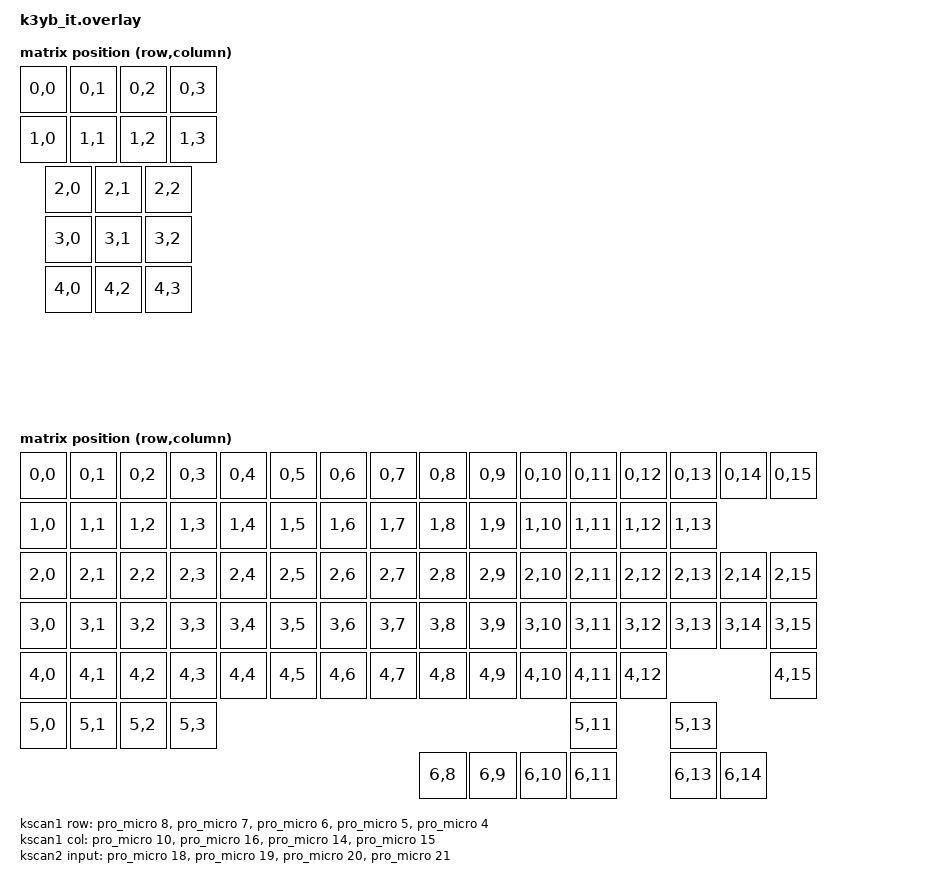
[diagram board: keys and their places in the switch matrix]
#include <dt-bindings/zmk/matrix_transform.h>

/ {
    chosen {
        zmk,kscan = &kscan0;
    };

    kscan0: kscan_composite {
        compatible = "zmk,kscan-composite";
        rows = <7>;
        columns = <16>;
		
        // Include the matrix GPIO driver
        matrix {
            kscan = <&kscan1>;
        };

        // Include the demux GPIO driver...
        demux {
            kscan = <&kscan2>;
        };
    };

    kscan1: kscan_matrix {
        compatible = "zmk,kscan-gpio-matrix";
        wakeup-source;
        diode-direction = "col2row";
        
        col-gpios = <&pro_micro 10 GPIO_ACTIVE_HIGH>
                  , <&pro_micro 16 GPIO_ACTIVE_HIGH>
                  , <&pro_micro 14 GPIO_ACTIVE_HIGH>
                  , <&pro_micro 15 GPIO_ACTIVE_HIGH>;

        row-gpios =  <&pro_micro 8 (GPIO_ACTIVE_HIGH | GPIO_PULL_UP)>
                   , <&pro_micro 7 (GPIO_ACTIVE_HIGH | GPIO_PULL_UP)>
                   , <&pro_micro 6 (GPIO_ACTIVE_HIGH | GPIO_PULL_UP)>
                   , <&pro_micro 5 (GPIO_ACTIVE_HIGH | GPIO_PULL_UP)>
                   , <&pro_micro 4 (GPIO_ACTIVE_HIGH | GPIO_PULL_UP)> 
                   ;
    };

    kscan2: kscan_demux {
        compatible = "zmk,kscan-gpio-demux";
        polling-interval-msec = <200>;

        input-gpios =  <&pro_micro 18 GPIO_ACTIVE_HIGH>
                     , <&pro_micro 19 GPIO_ACTIVE_HIGH>
                     , <&pro_micro 20 GPIO_ACTIVE_HIGH>
                     , <&pro_micro 21 GPIO_ACTIVE_HIGH>;

        output-gpios =  <&pro_micro 8 (GPIO_ACTIVE_HIGH | GPIO_PULL_UP)>
                      , <&pro_micro 7 (GPIO_ACTIVE_HIGH | GPIO_PULL_UP)>
                      , <&pro_micro 6 (GPIO_ACTIVE_HIGH | GPIO_PULL_UP)>
                      , <&pro_micro 5 (GPIO_ACTIVE_HIGH | GPIO_PULL_UP)>
                      , <&pro_micro 4 (GPIO_ACTIVE_HIGH | GPIO_PULL_UP)>
                      , <&pro_micro 3 (GPIO_ACTIVE_HIGH | GPIO_PULL_UP)> 
                      , <&pro_micro 2 (GPIO_ACTIVE_HIGH | GPIO_PULL_UP)>
                      ;
    };
	
    keypad_transform: matrix_transform_1 {
        compatible = "zmk,matrix-transform";
        rows = <5>;
        columns = <4>;
		//     1   2   3   4
        //   ┌───┬───┬───┬───┐
        // 1 │NUM│ / │ * │ - │
        //   ├───┼───┼───┼───┤
        // 2 │ 7 │ 8 │ 9 │ + │
        //   ├───┼───┼───┼───┤
        // 3 │ 4 │ 5 │ 6 │   │
        //   ├───┼───┼───┼───┤
        // 4 │ 1 │ 2 │ 3 │   │
        //   ├───┼───┼───┼───┤
        // 5 │ 0 │   │ . │RET│
        //   └───┴───┴───┴───┘
        map = <
            RC(0,0) RC(0,1) RC(0,2) RC(0,3)
              RC(1,0) RC(1,1) RC(1,2) RC(1,3)
                RC(2,0) RC(2,1) RC(2,2)
                  RC(3,0) RC(3,1) RC(3,2) 
                    RC(4,0)         RC(4,2) RC(4,3)
        >;
		
    };
	
	demux_transform: matrix_transform_2 {
         compatible = "zmk,matrix-transform";
         rows = <7>;
         columns = <16>;
		//      1   2   3   4   5   6   7   8   9   10  11  12  13  14  15  16
        //    ┌───┬───┬───┬───┬───┬───┬───┬───┬───┬───┬───┬───┬───┬───┬───┬───┐
        //  1 │ESC│ F1│ F2│ F3│ F4│ F5│ F6│ F7│ F8│ F9│F10│F11│F12│PRN│BSC│ PS│
        //    ├───┼───┼───┼───┼───┼───┼───┼───┼───┼───┼───┼───┼───┼───┼───┼───┤
        //  2 │ ~ │ 1 │ 2 │ 3 │ 4 │ 5 │ 6 │ 7 │ 8 │ 9 │ 0 │ - │ = │BKS│   │   │
        //    ├───┼───┼───┼───┼───┼───┼───┼───┼───┼───┼───┼───┼───┼───┼───┼───┤
        //  3 │TAB│ q │ w │ e │ r │ t │ y │ u │ i │ o │ p │ [ │ ] │INS│ UP│PGU│
        //    ├───┼───┼───┼───┼───┼───┼───┼───┼───┼───┼───┼───┼───┼───┼───┼───┤
        //  4 │CAP│ a │ s │ d │ f │ g │ h │ j │ k │ l │ ; │ ' │ENT│DEL│END│PGD│
        //    ├───┼───┼───┼───┼───┼───┼───┼───┼───┼───┼───┼───┼───┼───┼───┼───┤
        //  5 │SHL│ \ │ z │ x │ c │ v │ b │ n │ m │ , │ . │ / │SHR│   │   │ UP│
        //    ├───┼───┼───┼───┼───┼───┼───┼───┼───┼───┼───┼───┼───┼───┼───┼───┤
        //  6 │LCT│WIN│LAT│ SP│   │   │   │   │   │   │RIG│   │ u │   │   │   │
        //    ├───┼───┼───┼───┼───┼───┼───┼───┼───┼───┼───┼───┼───┼───┼───┼───┤
        //  7 │   │   │   │   │   │   │   │   │RAT│ FN│MNU│RCT│   │LEF│DOW│   │
        //    └───┴───┴───┴───┴───┴───┴───┴───┴───┴───┴───┴───┴───┴───┴───┴───┘
         map = <
             RC(0,0) RC(0,1) RC(0,2) RC(0,3) RC(0,4) RC(0,5) RC(0,6) RC(0,7) RC(0,8) RC(0,9) RC(0,10) RC(0,11) RC(0,12) RC(0,13) RC(0,14) RC(0,15)
             RC(1,0) RC(1,1) RC(1,2) RC(1,3) RC(1,4) RC(1,5) RC(1,6) RC(1,7) RC(1,8) RC(1,9) RC(1,10) RC(1,11) RC(1,12) RC(1,13)
             RC(2,0) RC(2,1) RC(2,2) RC(2,3) RC(2,4) RC(2,5) RC(2,6) RC(2,7) RC(2,8) RC(2,9) RC(2,10) RC(2,11) RC(2,12) RC(2,13) RC(2,14) RC(2,15)
             RC(3,0) RC(3,1) RC(3,2) RC(3,3) RC(3,4) RC(3,5) RC(3,6) RC(3,7) RC(3,8) RC(3,9) RC(3,10) RC(3,11) RC(3,12) RC(3,13) RC(3,14) RC(3,15)
             RC(4,0) RC(4,1) RC(4,2) RC(4,3) RC(4,4) RC(4,5) RC(4,6) RC(4,7) RC(4,8) RC(4,9) RC(4,10) RC(4,11) RC(4,12)                   RC(4,15)
             RC(5,0) RC(5,1) RC(5,2) RC(5,3)                                                          RC(5,11)          RC(5,13)
                                                                             RC(6,8) RC(6,9) RC(6,10) RC(6,11)          RC(6,13) RC(6,14)
         >;
        
    };
};
